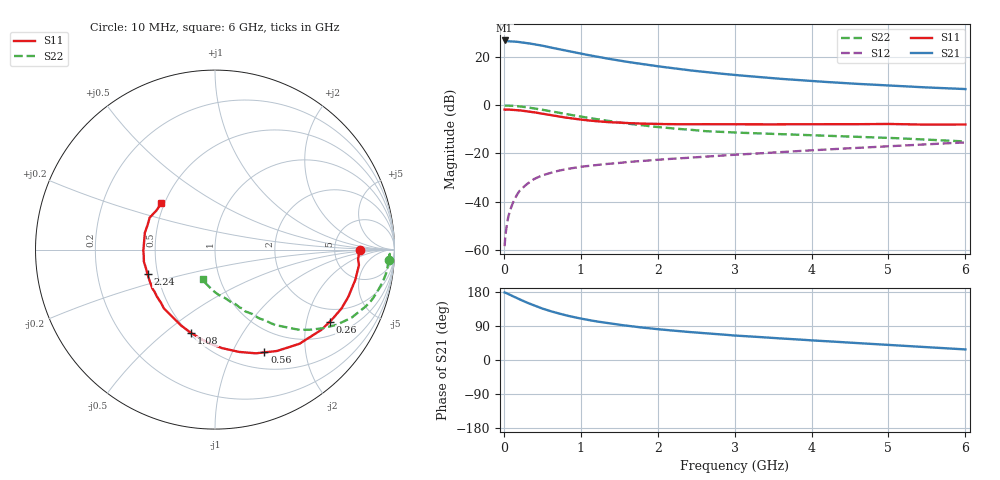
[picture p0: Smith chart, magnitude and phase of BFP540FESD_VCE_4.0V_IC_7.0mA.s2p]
! Infineon Technologies  Discrete & RF Semiconductors
! BFP540FESD
! VCE =  4.0 V,  IC =  7.0 mA
! Common Emitter S-Parameters:  Nov 2015
# GHz  S  MA  R  50
!  f  S11  S21  S12  S22
! GHz  MAG  ANG  MAG  ANG  MAG  ANG  MAG  ANG
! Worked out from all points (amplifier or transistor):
!   210 points, 10 MHz to 6 GHz, reference 50 ohm
!   highest |S21| = 26.7 dB at 10 MHz (marker M1)
!   |S21| within 3 dB of that: start of sweep to 622.5 MHz
!   unconditionally stable (mu >= 1): start of sweep to 10.44 MHz; 2.485 GHz to end of sweep
!   at 185 MHz: K = 0.19, MSG = 31.3 dB, |S12| = -36.4 dB
!   at 1.52 GHz: K = 0.73, MSG = 21.1 dB, |S12| = -23.9 dB
!   at 6 GHz: K = 1.26, MAG = 8.0 dB, |S12| = -15.5 dB
!   S11 on the Smith chart (normalised r, x): 10 MHz: 9.27, -0.22; 260 MHz: 1.48, -2.76; 560 MHz: 0.70, -1.34; 1.08 GHz: 0.51, -0.62; 2.24 GHz: 0.44, -0.14; 6 GHz: 0.48, +0.29
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0.01  0.8053 -0.3  21.63 178.2  0.0012 32.9  0.9727 -3.5
0.02  0.7988 -3.8  21.02 177.6  0.002 50.0  0.974 -1.4
0.15  0.788 -19.5  20.55 165.4  0.012 77.0  0.9523 -10.8
0.2  0.7775 -24.9  20.06 160.4  0.0164 73.7  0.9359 -14.2
0.26  0.7553 -32.1  19.52 155.2  0.0203 72.5  0.9147 -18.2
0.3  0.742 -37.1  19.17 151.5  0.0231 70.7  0.8972 -20.7
0.4  0.7049 -48.1  18.02 143.3  0.0298 66.3  0.8502 -26.5
0.5  0.6619 -58.6  16.87 135.8  0.0349 62.6  0.7973 -31.7
0.56  0.6354 -64.3  16.07 132.0  0.0375 60.6  0.7659 -34.2
0.62  0.6134 -70.0  15.34 128.1  0.0401 58.7  0.7363 -36.6
0.8  0.5507 -85.8  13.41 118.1  0.0467 54.4  0.6526 -43.3
0.9  0.5236 -93.5  12.41 113.4  0.0498 52.4  0.6112 -45.9
1.02  0.4951 -101.6  11.38 108.7  0.0531 50.9  0.5683 -48.8
1.08  0.4826 -105.9  10.92 106.3  0.0543 50.1  0.5487 -50.5
1.22  0.4597 -115.3  9.897 101.3  0.0576 49.1  0.5061 -53.3
1.5  0.4338 -131.0  8.297 93.0  0.0632 47.4  0.4364 -58.6
2.02  0.4045 -153.6  6.268 81.0  0.0739 45.9  0.3476 -67.2
2.24  0.3999 -159.9  5.643 76.9  0.0781 45.4  0.3229 -69.8
3.1  0.3982 179.1  4.053 63.4  0.0954 44.3  0.2658 -81.2
4.1  0.4011 165.1  3.059 50.7  0.1178 42.4  0.2338 -91.0
5.1  0.4021 152.5  2.486 38.5  0.1435 37.7  0.2058 -100.5
6  0.395 139.3  2.135 27.9  0.1679 32.8  0.1759 -111.9
